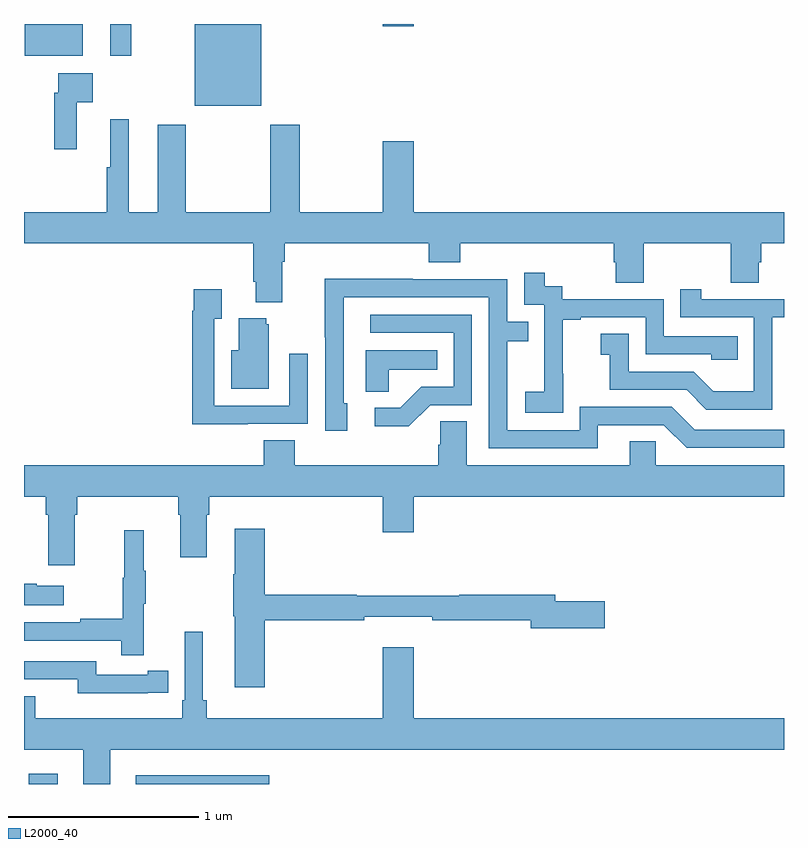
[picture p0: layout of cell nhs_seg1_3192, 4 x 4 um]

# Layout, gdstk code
import gdstk
lib = gdstk.Library(unit=1e-6, precision=1e-09)
def R(c, l, rs):  # rectangles x0, y0, x1, y1
    for r in rs: c.add(gdstk.rectangle(r[:2], r[2:], *l))
def P(c, l, *ps):  # polygons
    for p in ps: c.add(gdstk.Polygon(p, *l))
L2000_40 = (2000, 40)

nhs_seg1_3192 = lib.new_cell('nhs_seg1_3192')
R(nhs_seg1_3192, L2000_40, [(283.025,570.199,283.177,570.253), (283.589,570.199,284.29,570.244), (283.898,573.77,284.248,574.199), (283.004,574.031,283.309,574.199), (283.454,574.032,283.564,574.199), (284.888,574.188,285.052,574.199)])
P(nhs_seg1_3192, L2000_40, [(283.277,573.788),(283.363,573.788),(283.363,573.94),(283.179,573.94),(283.179,573.836),(283.159,573.836),(283.159,573.54),(283.277,573.54)],
  [(285.052,573.583),(284.888,573.583),(284.888,573.208),(284.451,573.208),(284.451,573.67),(284.296,573.67),(284.296,573.208),(283.851,573.208),(283.851,573.67),(283.703,573.67),(283.703,573.208),(283.552,573.208),(283.552,573.697),(283.454,573.697),(283.454,573.444),(283.435,573.444),(283.435,573.208),(283,573.208),(283,573.044),(284.207,573.044),(284.207,572.842),(284.219,572.842),(284.219,572.735),(284.359,572.735),(284.359,572.948),(284.372,572.948),(284.372,573.044),(285.131,573.044),(285.131,572.945),(285.296,572.945),(285.296,573.044),(286.103,573.044),(286.103,572.946),(286.115,572.946),(286.115,572.836),(286.263,572.836),(286.263,573.044),(286.72,573.044),(286.72,572.836),(286.867,572.836),(286.867,572.946),(286.88,572.946),(286.88,573.044),(287,573.044),(287,573.208),(285.052,573.208)],
  [(285.837,572.359),(285.836,572.359),(285.836,572.643),(285.931,572.643),(285.931,572.655),(286.272,572.655),(286.272,572.46),(286.617,572.46),(286.617,572.433),(286.757,572.433),(286.757,572.556),(286.368,572.556),(286.368,572.751),(285.834,572.751),(285.834,572.82),(285.742,572.82),(285.742,572.89),(285.633,572.89),(285.633,572.721),(285.738,572.721),(285.738,572.492),(285.737,572.492),(285.737,572.263),(285.639,572.263),(285.639,572.153),(285.837,572.153)],
  [(286.021,572.088),(286.368,572.088),(286.488,571.968),(287,571.968),(287,572.064),(286.53,572.064),(286.41,572.184),(285.924,572.184),(285.924,572.061),(285.543,572.061),(285.543,572.53),(285.653,572.53),(285.653,572.631),(285.543,572.631),(285.543,572.856),(285.047,572.856),(285.047,572.858),(284.584,572.858),(284.584,572.551),(284.586,572.551),(284.586,572.058),(284.701,572.058),(284.701,572.202),(284.682,572.202),(284.682,572.76),(285.447,572.76),(285.447,571.965),(286.021,571.965)],
  [(286.938,572.655),(287,572.655),(287,572.751),(286.564,572.751),(286.564,572.803),(286.453,572.803),(286.453,572.655),(286.842,572.655),(286.842,572.266),(286.628,572.266),(286.524,572.37),(286.182,572.37),(286.182,572.569),(286.035,572.569),(286.035,572.459),(286.084,572.459),(286.084,572.274),(286.487,572.274),(286.592,572.169),(286.938,572.169)],
  [(284.177,572.094),(284.493,572.094),(284.493,572.464),(284.397,572.464),(284.397,572.19),(284.001,572.19),(284.001,572.647),(284.041,572.647),(284.041,572.803),(283.893,572.803),(283.893,572.69),(283.885,572.69),(283.885,572.093),(284.177,572.093)],
  [(285.138,572.193),(285.357,572.193),(285.357,572.67),(284.823,572.67),(284.823,572.574),(285.261,572.574),(285.261,572.289),(285.092,572.289),(284.981,572.178),(284.847,572.178),(284.847,572.081),(285.025,572.081)],
  [(284.287,572.619),(284.276,572.619),(284.276,572.65),(284.129,572.65),(284.129,572.482),(284.09,572.482),(284.09,572.279),(284.287,572.279)],
  [(284.919,572.378),(285.176,572.378),(285.176,572.482),(284.798,572.482),(284.798,572.263),(284.919,572.263)],
  [(283.267,571.616),(283.28,571.616),(283.28,571.712),(283.811,571.712),(283.811,571.616),(283.823,571.616),(283.823,571.392),(283.963,571.392),(283.963,571.616),(283.976,571.616),(283.976,571.712),(284.888,571.712),(284.888,571.524),(285.052,571.524),(285.052,571.712),(287,571.712),(287,571.876),(286.326,571.876),(286.326,572.003),(286.187,572.003),(286.187,571.876),(285.331,571.876),(285.331,572.108),(285.192,572.108),(285.192,571.985),(285.179,571.985),(285.179,571.876),(284.426,571.876),(284.426,572.009),(284.261,572.009),(284.261,571.876),(283,571.876),(283,571.712),(283.115,571.712),(283.115,571.616),(283.127,571.616),(283.127,571.35),(283.267,571.35)],
  [(284.267,571.06),(284.792,571.06),(284.792,571.079),(285.148,571.079),(285.148,571.06),(285.668,571.06),(285.668,571.018),(286.057,571.018),(286.057,571.16),(285.796,571.16),(285.796,571.196),(285.292,571.196),(285.292,571.189),(284.75,571.189),(284.75,571.196),(284.267,571.196),(284.267,571.543),(284.108,571.543),(284.108,571.304),(284.101,571.304),(284.101,571.083),(284.108,571.083),(284.108,570.708),(284.267,570.708)],
  [(283.631,571.147),(283.642,571.147),(283.642,571.321),(283.631,571.321),(283.631,571.534),(283.528,571.534),(283.528,571.284),(283.521,571.284),(283.521,571.07),(283.297,571.07),(283.297,571.05),(283,571.05),(283,570.954),(283.513,570.954),(283.513,570.876),(283.631,570.876)],
  [(283.21,571.243),(283.067,571.243),(283.067,571.253),(283,571.253),(283,571.139),(283.21,571.139)],
  [(283.845,571),(283.845,570.64),(283.832,570.64),(283.832,570.544),(283.06,570.544),(283.06,570.661),(283,570.661),(283,570.38),(283.313,570.38),(283.313,570.199),(283.453,570.199),(283.453,570.38),(287,570.38),(287,570.544),(285.052,570.544),(285.052,570.919),(284.888,570.919),(284.888,570.544),(283.961,570.544),(283.961,570.64),(283.942,570.64),(283.942,571)],
  [(283.652,570.678),(283.76,570.678),(283.76,570.794),(283.652,570.794),(283.652,570.774),(283.38,570.774),(283.38,570.846),(283,570.846),(283,570.75),(283.284,570.75),(283.284,570.677),(283.652,570.677)])

lib.write_gds('nhs_seg1_3192.gds')
